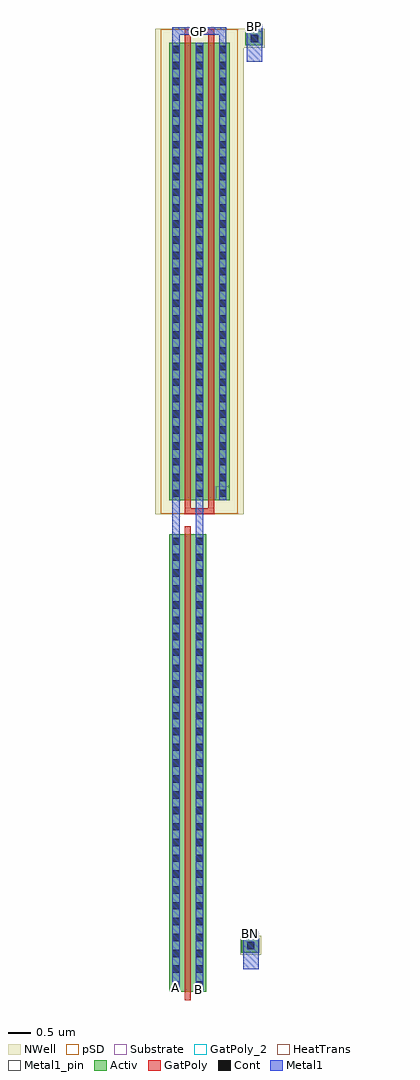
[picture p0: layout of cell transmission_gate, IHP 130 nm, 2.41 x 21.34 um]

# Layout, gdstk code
import gdstk
lib = gdstk.Library(unit=1e-6, precision=5e-09)
def R(c, l, rs):  # rectangles x0, y0, x1, y1
    for r in rs: c.add(gdstk.rectangle(r[:2], r[2:], *l))
def A(c, l, x, y, w, h, nx, ny, dx, dy):  # array of equal rectangles
    R(c, l, [(x+i*dx, y+j*dy, x+i*dx+w, y+j*dy+h) for i in range(nx) for j in range(ny)])
Activ = (1, 0)
GatPoly = (5, 0)
GatPoly_2 = (5, 2)
Cont = (6, 0)
Metal1 = (8, 0)
Metal1_pin = (8, 2)
pSD = (14, 0)
NWell = (31, 0)
Substrate = (40, 0)
HeatTrans = (51, 0)

nmos_1 = lib.new_cell('nmos$1')
R(nmos_1, Activ, [(0,0,0.3,0.3), (0,0,0.81,10), (0.51,0,0.81,0.3)])
R(nmos_1, GatPoly, [(0.34,-0.18,0.47,10.18)])
R(nmos_1, GatPoly_2, [(0.34,-0.18,0.47,10.18)])
A(nmos_1, Cont, 0.07, 0.07, 0.16, 0.16, 1, 4, 0, 0.345)
A(nmos_1, Cont, 0.58, 0.07, 0.16, 0.16, 1, 4, 0, 0.345)
A(nmos_1, Cont, 0.07, 1.455, 0.16, 0.16, 1, 3, 0, 0.345)
A(nmos_1, Cont, 0.58, 1.455, 0.16, 0.16, 1, 3, 0, 0.345)
A(nmos_1, Cont, 0.07, 2.495, 0.16, 0.16, 1, 4, 0, 0.345)
A(nmos_1, Cont, 0.58, 2.495, 0.16, 0.16, 1, 4, 0, 0.345)
A(nmos_1, Cont, 0.07, 3.88, 0.16, 0.16, 1, 3, 0, 0.345)
A(nmos_1, Cont, 0.58, 3.88, 0.16, 0.16, 1, 3, 0, 0.345)
A(nmos_1, Cont, 0.07, 4.92, 0.16, 0.16, 1, 4, 0, 0.345)
A(nmos_1, Cont, 0.58, 4.92, 0.16, 0.16, 1, 4, 0, 0.345)
A(nmos_1, Cont, 0.07, 6.305, 0.16, 0.16, 1, 3, 0, 0.345)
A(nmos_1, Cont, 0.58, 6.305, 0.16, 0.16, 1, 3, 0, 0.345)
A(nmos_1, Cont, 0.07, 7.345, 0.16, 0.16, 1, 4, 0, 0.345)
A(nmos_1, Cont, 0.58, 7.345, 0.16, 0.16, 1, 4, 0, 0.345)
A(nmos_1, Cont, 0.07, 8.73, 0.16, 0.16, 1, 3, 0, 0.345)
A(nmos_1, Cont, 0.58, 8.73, 0.16, 0.16, 1, 3, 0, 0.345)
R(nmos_1, Cont, [(0.07,9.77,0.23,9.93), (0.58,9.77,0.74,9.93)])
R(nmos_1, Metal1, [(0.07,0,0.23,10), (0.58,0,0.74,10)])
R(nmos_1, Metal1_pin, [(0.07,0,0.23,10), (0.58,0,0.74,10)])
R(nmos_1, HeatTrans, [(0.34,-0.18,0.47,10.18)])
nmos_1.add(gdstk.Label('nmos', (0.405,5), layer=63, texttype=0))
nmos_1.add(gdstk.Label('nmos', (0.405,5), layer=51, texttype=0))

pmos = lib.new_cell('pmos')
A(pmos, Activ, 0, 0, 0.3, 0.3, 3, 1, 0.51, 0)
R(pmos, Activ, [(0,0,1.32,10)])
R(pmos, GatPoly, [(0.34,-0.18,0.47,10.18), (0.34,-0.18,0.47,10.18), (0.85,-0.18,0.98,10.18)])
A(pmos, Cont, 0.07, 0.07, 0.16, 0.16, 3, 4, 0.51, 0.345)
A(pmos, Cont, 0.07, 1.455, 0.16, 0.16, 3, 3, 0.51, 0.345)
A(pmos, Cont, 0.07, 2.495, 0.16, 0.16, 3, 4, 0.51, 0.345)
A(pmos, Cont, 0.07, 3.88, 0.16, 0.16, 3, 3, 0.51, 0.345)
A(pmos, Cont, 0.07, 4.92, 0.16, 0.16, 3, 4, 0.51, 0.345)
A(pmos, Cont, 0.07, 6.305, 0.16, 0.16, 3, 3, 0.51, 0.345)
A(pmos, Cont, 0.07, 7.345, 0.16, 0.16, 3, 4, 0.51, 0.345)
A(pmos, Cont, 0.07, 8.73, 0.16, 0.16, 3, 3, 0.51, 0.345)
A(pmos, Cont, 0.07, 9.77, 0.16, 0.16, 3, 1, 0.51, 0)
R(pmos, Metal1, [(0.07,0,0.23,10), (0.07,0,0.23,10), (0.58,0,0.74,10), (0.58,0,0.74,10), (1.09,0,1.25,10)])
R(pmos, pSD, [(-0.18,-0.3,1.5,10.3)])
R(pmos, NWell, [(-0.31,-0.31,1.63,10.31)])
R(pmos, Substrate, [(1.02,0,1.32,0.3)])
R(pmos, HeatTrans, [(0.34,-0.18,0.47,10.18), (0.85,-0.18,0.98,10.18)])
pmos.add(gdstk.Label('pmos', (0.405,5), layer=63, texttype=0))
pmos.add(gdstk.Label('pmos', (0.405,5), layer=51, texttype=0))
pmos.add(gdstk.Label('pmos', (0.915,5), layer=51, texttype=0))

transmission_gate = lib.new_cell('transmission_gate')
R(transmission_gate, Activ, [(0.8,-20.545,1.185,-20.225), (0.88,-0.71,1.265,-0.39)])
R(transmission_gate, GatPoly, [(-0.44,-10.96,0.2,-10.83), (-0.44,-0.47,0.2,-0.34)])
R(transmission_gate, Cont, [(0.925,-20.47,1.085,-20.31), (1.005,-0.635,1.165,-0.475)])
R(transmission_gate, Metal1, [(0.84,-20.905,1.175,-20.075), (-0.71,-11.4,-0.55,-10.65), (-0.2,-11.4,-0.04,-10.65), (0.92,-1.07,1.255,-0.24), (-0.71,-0.65,-0.55,-0.47), (0.31,-0.65,0.47,-0.47), (-0.71,-0.47,0.47,-0.31)])
R(transmission_gate, pSD, [(0.805,-20.54,1.18,-20.23)])
R(transmission_gate, NWell, [(0.77,-20.595,1.235,-20.175), (0.85,-0.76,1.315,-0.34)])
transmission_gate.add(gdstk.Reference(nmos_1, (-0.78,-21.4)))
transmission_gate.add(gdstk.Reference(pmos, (-0.78,-10.65)))
transmission_gate.add(gdstk.Label('BP', (1.075,-0.3), layer=8, texttype=0))
transmission_gate.add(gdstk.Label('BN', (0.995,-20.135), layer=8, texttype=0))
transmission_gate.add(gdstk.Label('A', (-0.645,-21.315), layer=8, texttype=2))
transmission_gate.add(gdstk.Label('B', (-0.135,-21.34), layer=8, texttype=2))
transmission_gate.add(gdstk.Label('GP', (-0.14,-0.41), layer=5, texttype=2))
transmission_gate.add(gdstk.Label('GN', (-0.39,-21.52), layer=5, texttype=2))

lib.write_gds('transmission_gate.gds')
